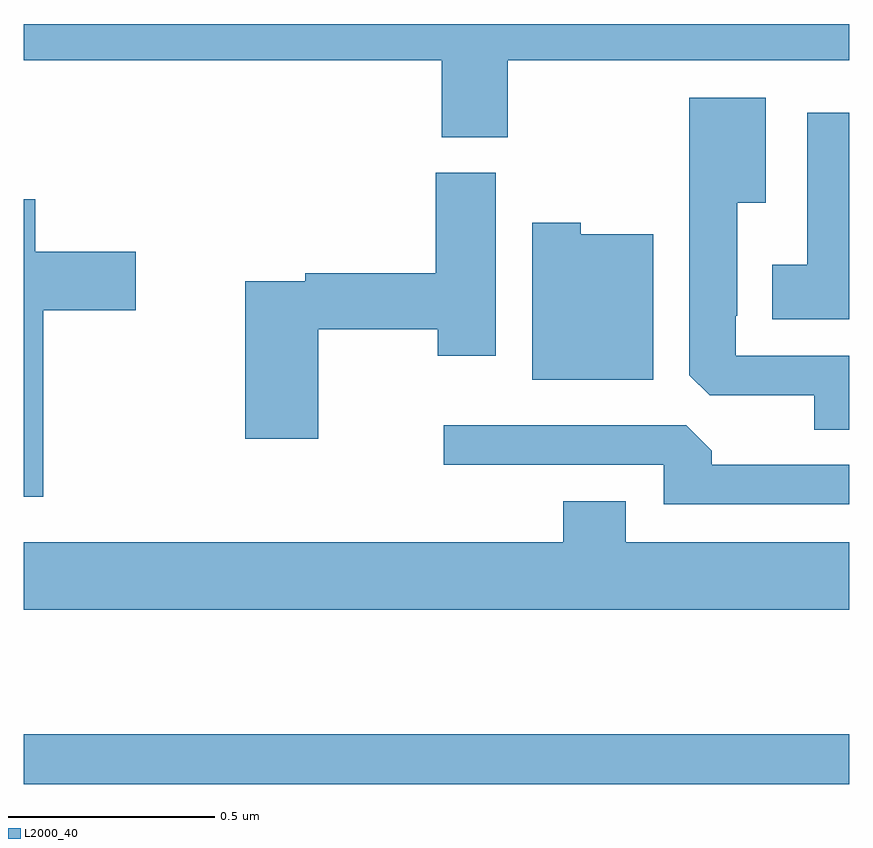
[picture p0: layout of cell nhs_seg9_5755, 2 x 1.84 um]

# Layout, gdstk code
import gdstk
lib = gdstk.Library(unit=1e-6, precision=1e-09)
def R(c, l, rs):  # rectangles x0, y0, x1, y1
    for r in rs: c.add(gdstk.rectangle(r[:2], r[2:], *l))
def P(c, l, *ps):  # polygons
    for p in ps: c.add(gdstk.Polygon(p, *l))
L2000_40 = (2000, 40)

nhs_seg9_5755 = lib.new_cell('nhs_seg9_5755')
R(nhs_seg9_5755, L2000_40, [(183,1202.658,185,1202.779)])
P(nhs_seg9_5755, L2000_40, [(184.173,1204.412),(185,1204.412),(185,1204.5),(183,1204.5),(183,1204.412),(184.013,1204.412),(184.013,1204.225),(184.173,1204.225)],
  [(185,1203.696),(184.725,1203.696),(184.725,1203.793),(184.729,1203.793),(184.729,1204.067),(184.798,1204.067),(184.798,1204.321),(184.613,1204.321),(184.613,1203.649),(184.662,1203.6),(184.916,1203.6),(184.916,1203.517),(185,1203.517)],
  [(185,1204.285),(184.898,1204.285),(184.898,1203.916),(184.814,1203.916),(184.814,1203.785),(185,1203.785)],
  [(183.714,1203.76),(184.003,1203.76),(184.003,1203.696),(184.144,1203.696),(184.144,1204.14),(183.998,1204.14),(183.998,1203.896),(183.682,1203.896),(183.682,1203.876),(183.536,1203.876),(183.536,1203.495),(183.714,1203.495)],
  [(183.047,1203.806),(183.271,1203.806),(183.271,1203.948),(183.028,1203.948),(183.028,1204.075),(183,1204.075),(183,1203.354),(183.047,1203.354)],
  [(184.525,1203.991),(184.35,1203.991),(184.35,1204.018),(184.232,1204.018),(184.232,1203.638),(184.525,1203.638)],
  [(185,1203.432),(184.667,1203.432),(184.667,1203.466),(184.605,1203.528),(184.017,1203.528),(184.017,1203.432),(184.551,1203.432),(184.551,1203.336),(185,1203.336)],
  [(185,1203.244),(184.459,1203.244),(184.459,1203.343),(184.307,1203.343),(184.307,1203.244),(183,1203.244),(183,1203.08),(185,1203.08)])

lib.write_gds('nhs_seg9_5755.gds')
